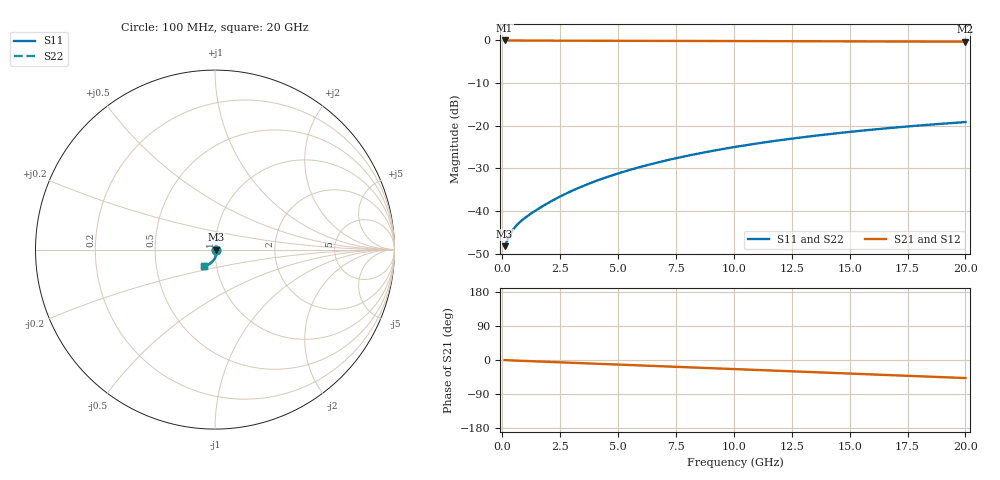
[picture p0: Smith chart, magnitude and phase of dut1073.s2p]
! Touchstone file exported from HFSS 2026.1.0
!  File:  C:/ffzhzh/LocalFiles/Ansys_Project_Files/temp_train_TMRDL_1073_1783160773_18472.aedt
!  Generated:  06:27:34 PM Jul  4, 2026
!  Design:  TMRDL
!  Project:  temp_train_TMRDL_1073_1783160773_18472
! Variables:
!  h_bsmrdl = 2um
!  h_ox = 20um
!  h_rdl = 5um
!  h_sub = 80um
!  h_tmrdl = 2.89um
!  h_tsv = 80um
!  h_via = 3um
!  l_bsmrdl = 300um
!  l_sub = 1236.32um
!  l_tmrdl = 836.32um
!  m_sub = 200um
!  pitch = 32.64um
!  r_tsv = 6um
!  s_tmrdl = 10um
!  w_bsmrdl = 18um
!  w_sub = 500um
!  w_tmrdl = 29.94um
!  x_tsv_center1 = 851.29um
!  x_tsv_center2 = 1169.29um
!  x_tsv_center3 = 2035.55um
!  x_tsv_center4 = 2353.55um
!  x_tsv_center5 = 3219.81um
!  x_tsv_center6 = 3537.81um
# GHz S MA R 50.000000
! Terminal data exported
! Port[1] = TM_RDL1_1_T1
! Port[2] = TM_RDL1_1_T2
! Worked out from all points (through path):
!   200 points, 100 MHz to 20 GHz, reference 50 ohm
!   highest |S21| = -0.03 dB at 100 MHz (marker M1); lowest = -0.3 dB at 20 GHz (marker M2)
!   group delay of S21, straight-line fit = 6.6 ps
!   lowest |S11| = -48.2 dB at 100 MHz (marker M3), VSWR 1.01, Z = 50.4 + j0.0477 ohm
!   |S11| at or under -10 dB: start of sweep to end of sweep
!   |S22| runs from -48.2 to -19.1 dB; largest |S21 - S12| = 3e-15
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0.1  0.003891 7.0  0.9961 -0.3  0.9961 -0.3  0.003891 7.0
! Gamma 0 0 0 0
! Port Impedance 50 0 50 0
0.3  0.005079 8.3  0.995 -0.9  0.995 -0.9  0.005079 8.3
0.4  0.005697 4.6  0.9943 -1.1  0.9943 -1.1  0.005697 4.6
0.5  0.006251 0.0  0.9937 -1.4  0.9937 -1.4  0.006251 0.0
0.6  0.006747 -4.8  0.9933 -1.6  0.9933 -1.6  0.006746 -4.8
0.7  0.007197 -9.5  0.9929 -1.9  0.9929 -1.9  0.007197 -9.5
1  0.008419 -22.1  0.9921 -2.6  0.9921 -2.6  0.008419 -22.1
1.6  0.01083 -40.2  0.9912 -4.0  0.9912 -4.0  0.01083 -40.2
2.2  0.01346 -51.9  0.9907 -5.5  0.9907 -5.5  0.01346 -51.9
2.8  0.01628 -60.1  0.9901 -6.9  0.9901 -6.9  0.01628 -60.1
3.5  0.01975 -67.0  0.9894 -8.6  0.9894 -8.6  0.01975 -66.9
4.2  0.02337 -72.2  0.9887 -10.3  0.9887 -10.3  0.02337 -72.1
5  0.02764 -76.9  0.9877 -12.3  0.9877 -12.3  0.02764 -76.8
5.9  0.03259 -81.3  0.9865 -14.4  0.9865 -14.4  0.03259 -81.2
6.8  0.03765 -85.0  0.9853 -16.6  0.9853 -16.6  0.03765 -84.9
8.4  0.04684 -90.9  0.9829 -20.4  0.9829 -20.4  0.04684 -90.8
10.1  0.05673 -96.4  0.9802 -24.5  0.9802 -24.5  0.05673 -96.3
11.7  0.06602 -101.3  0.9776 -28.2  0.9776 -28.2  0.06603 -101.2
13.4  0.07576 -106.3  0.9748 -32.3  0.9748 -32.3  0.07576 -106.1
15  0.0847 -110.8  0.9722 -36.0  0.9722 -36.0  0.0847 -110.6
16.7  0.09387 -115.5  0.9695 -40.0  0.9695 -40.0  0.09387 -115.3
20  0.1104 -124.3  0.9642 -47.6  0.9642 -47.6  0.1104 -124.0
